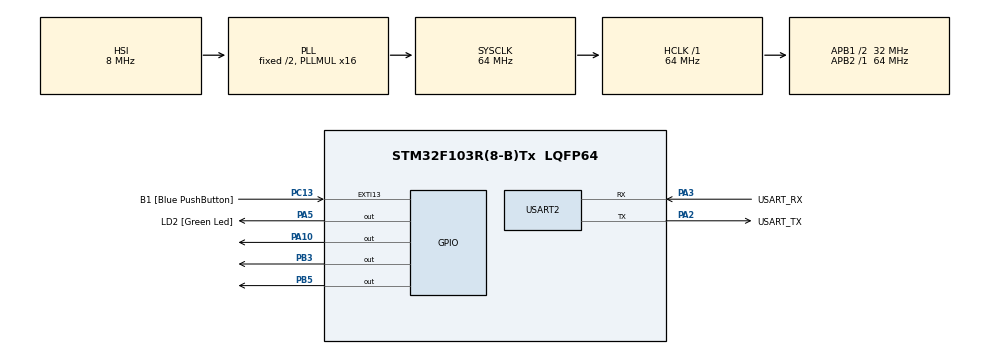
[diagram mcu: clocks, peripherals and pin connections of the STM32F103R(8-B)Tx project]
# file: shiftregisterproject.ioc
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Mcu.Family=STM32F1
Mcu.Name=STM32F103R(8-B)Tx
Mcu.Package=LQFP64
NVIC.EXTI15_10_IRQn=true\:0\:0\:false\:false\:true\:true\:true\:true
NVIC.PriorityGroup=NVIC_PRIORITYGROUP_4
PA10.Signal=GPIO_Output
PA13.GPIO_Label=TMS
PA13.Mode=Serial_Wire
PA13.Signal=SYS_JTMS-SWDIO
PA14.GPIO_Label=TCK
PA14.Mode=Serial_Wire
PA14.Signal=SYS_JTCK-SWCLK
PA2.GPIO_Label=USART_TX
PA2.GPIO_Mode=GPIO_MODE_AF_PP
PA2.GPIO_PuPd=GPIO_NOPULL
PA2.GPIO_Speed=GPIO_SPEED_FREQ_LOW
PA2.Mode=Asynchronous
PA2.Signal=USART2_TX
PA3.GPIO_Label=USART_RX
PA3.GPIO_Mode=GPIO_MODE_AF_PP
PA3.GPIO_PuPd=GPIO_NOPULL
PA3.GPIO_Speed=GPIO_SPEED_FREQ_LOW
PA3.Mode=Asynchronous
PA3.Signal=USART2_RX
PA5.GPIO_Label=LD2 [Green Led]
PA5.GPIO_ModeDefaultOutputPP=GPIO_MODE_OUTPUT_PP
PA5.GPIO_PuPd=GPIO_NOPULL
PA5.GPIO_Speed=GPIO_SPEED_FREQ_LOW
PA5.Signal=GPIO_Output
PB3.Signal=GPIO_Output
PB5.Signal=GPIO_Output
PC13-TAMPER-RTC.GPIO_Label=B1 [Blue PushButton]
PC13-TAMPER-RTC.GPIO_PuPd=GPIO_NOPULL
PC13-TAMPER-RTC.Signal=GPXTI13
PC14-OSC32_IN.Mode=LSE-External-Oscillator
PC14-OSC32_IN.Signal=RCC_OSC32_IN
PC15-OSC32_OUT.Mode=LSE-External-Oscillator
PC15-OSC32_OUT.Signal=RCC_OSC32_OUT
PD0-OSC_IN.Mode=HSE-External-Clock-Source
PD0-OSC_IN.Signal=RCC_OSC_IN
PD1-OSC_OUT.Mode=HSE-External-Clock-Source
PD1-OSC_OUT.Signal=RCC_OSC_OUT
ProjectManager.HeapSize=0x200
ProjectManager.StackSize=0x400
ProjectManager.TargetToolchain=STM32CubeIDE
RCC.AHBFreq_Value=64000000
RCC.APB1CLKDivider=RCC_HCLK_DIV2
RCC.APB1Freq_Value=32000000
RCC.APB1TimFreq_Value=64000000
RCC.APB2Freq_Value=64000000
RCC.APB2TimFreq_Value=64000000
RCC.HCLKFreq_Value=64000000
RCC.PLLMUL=RCC_PLL_MUL16
RCC.RTCClockSelection=RCC_RTCCLKSOURCE_LSE
RCC.SYSCLKFreq_VALUE=64000000
RCC.SYSCLKSource=RCC_SYSCLKSOURCE_PLLCLK
RCC.USBFreq_Value=64000000
USART2.VirtualMode=VM_ASYNC
board=NUCLEO-F103RB

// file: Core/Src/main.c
/* USER CODE BEGIN Header */
/**
  ******************************************************************************
  * @file           : main.c
  * @brief          : Main program body
  ******************************************************************************
  * @attention
  *
  * Copyright (c) 2025 STMicroelectronics.
  * All rights reserved.
  *
  * This software is licensed under terms that can be found in the LICENSE file
  * in the root directory of this software component.
  * If no LICENSE file comes with this software, it is provided AS-IS.
  *
  ******************************************************************************
  */
/* USER CODE END Header */
#include "main.h"

UART_HandleTypeDef huart2;
uint8_t rxData;

void SystemClock_Config(void);
static void MX_GPIO_Init(void);
static void MX_USART2_UART_Init(void);
static void sendString(char *str);
static char readChar(void);
static void shiftOut(uint8_t bitOrder, uint8_t val);
static void stingerea();
static void joc1();
static void joc2();
static void joc3();
static void joc4();
static void joc5();
static void joc6();

int main(void)
{

  /* MCU Configuration--------------------------------------------------------*/

  /* Reset of all peripherals, Initializes the Flash interface and the Systick. */
  HAL_Init();

  /* Configure the system clock */
  SystemClock_Config();

  /* Initialize all configured peripherals */
  MX_GPIO_Init();
  MX_USART2_UART_Init();
  /* USER CODE BEGIN 2 */
  char alege[1] = {'0'};
  stingerea();
  sendString("Joc de lumini!\n");
  sendString("Alegeti varianta de joc (1 - 6) \n");
  while (alege[0]!='1' && alege[0]!='2' && alege[0]!='3' && alege[0]!='4' && alege[0]!='5' && alege[0]!='6')
  	 { alege[0] = readChar();
  		 HAL_Delay(500);
  	 }
  	sendString("Ati ales jocul: ");
  	sendString(alege);
  	sendString("\nPentru reinitializare apasati butonul Reset al placii ");

  	switch (alege[0]) {
  		 case '1':  joc1();
  		 case '2':  joc2();
  		 case '3':  joc3();
  		 case '4':  joc4();
  		 case '5': 	joc5();
  		 case '6': 	joc6();
  	 }
  /* USER CODE END 2 */

  /* Infinite loop */
  while (1)
  {

  }
}

void SystemClock_Config(void)
{
  RCC_OscInitTypeDef RCC_OscInitStruct = {0};
  RCC_ClkInitTypeDef RCC_ClkInitStruct = {0};

  /** Initializes the RCC Oscillators according to the specified parameters
  * in the RCC_OscInitTypeDef structure.
  */
  RCC_OscInitStruct.OscillatorType = RCC_OSCILLATORTYPE_HSI;
  RCC_OscInitStruct.HSIState = RCC_HSI_ON;
  RCC_OscInitStruct.HSICalibrationValue = RCC_HSICALIBRATION_DEFAULT;
  RCC_OscInitStruct.PLL.PLLState = RCC_PLL_ON;
  RCC_OscInitStruct.PLL.PLLSource = RCC_PLLSOURCE_HSI_DIV2;
  RCC_OscInitStruct.PLL.PLLMUL = RCC_PLL_MUL16;
  if (HAL_RCC_OscConfig(&RCC_OscInitStruct) != HAL_OK)
  {
    Error_Handler();
  }

  /** Initializes the CPU, AHB and APB buses clocks
  */
  RCC_ClkInitStruct.ClockType = RCC_CLOCKTYPE_HCLK|RCC_CLOCKTYPE_SYSCLK
                              |RCC_CLOCKTYPE_PCLK1|RCC_CLOCKTYPE_PCLK2;
  RCC_ClkInitStruct.SYSCLKSource = RCC_SYSCLKSOURCE_PLLCLK;
  RCC_ClkInitStruct.AHBCLKDivider = RCC_SYSCLK_DIV1;
  RCC_ClkInitStruct.APB1CLKDivider = RCC_HCLK_DIV2;
  RCC_ClkInitStruct.APB2CLKDivider = RCC_HCLK_DIV1;

  if (HAL_RCC_ClockConfig(&RCC_ClkInitStruct, FLASH_LATENCY_2) != HAL_OK)
  {
    Error_Handler();
  }
}

static void MX_USART2_UART_Init(void)
{

  huart2.Instance = USART2;
  huart2.Init.BaudRate = 115200;
  huart2.Init.WordLength = UART_WORDLENGTH_8B;
  huart2.Init.StopBits = UART_STOPBITS_1;
  huart2.Init.Parity = UART_PARITY_NONE;
  huart2.Init.Mode = UART_MODE_TX_RX;
  huart2.Init.HwFlowCtl = UART_HWCONTROL_NONE;
  huart2.Init.OverSampling = UART_OVERSAMPLING_16;
  if (HAL_UART_Init(&huart2) != HAL_OK)
  {
    Error_Handler();
  }

}

static void MX_GPIO_Init(void)
{
  GPIO_InitTypeDef GPIO_InitStruct = {0};

  /* GPIO Ports Clock Enable */
  __HAL_RCC_GPIOC_CLK_ENABLE();
  __HAL_RCC_GPIOD_CLK_ENABLE();
  __HAL_RCC_GPIOA_CLK_ENABLE();
  __HAL_RCC_GPIOB_CLK_ENABLE();

  /*Configure GPIO pin Output Level */
  HAL_GPIO_WritePin(GPIOA, LD2_Pin|GPIO_PIN_10, GPIO_PIN_RESET);

  /*Configure GPIO pin Output Level */
  HAL_GPIO_WritePin(GPIOB, GPIO_PIN_3|GPIO_PIN_5, GPIO_PIN_RESET);

  /*Configure GPIO pin : B1_Pin */
  GPIO_InitStruct.Pin = B1_Pin;
  GPIO_InitStruct.Mode = GPIO_MODE_IT_RISING;
  GPIO_InitStruct.Pull = GPIO_NOPULL;
  HAL_GPIO_Init(B1_GPIO_Port, &GPIO_InitStruct);

  /*Configure GPIO pins : LD2_Pin PA10 */
  GPIO_InitStruct.Pin = LD2_Pin|GPIO_PIN_10;
  GPIO_InitStruct.Mode = GPIO_MODE_OUTPUT_PP;
  GPIO_InitStruct.Pull = GPIO_NOPULL;
  GPIO_InitStruct.Speed = GPIO_SPEED_FREQ_LOW;
  HAL_GPIO_Init(GPIOA, &GPIO_InitStruct);

  /*Configure GPIO pins : PB3 PB5 */
  GPIO_InitStruct.Pin = GPIO_PIN_3|GPIO_PIN_5;
  GPIO_InitStruct.Mode = GPIO_MODE_OUTPUT_PP;
  GPIO_InitStruct.Pull = GPIO_NOPULL;
  GPIO_InitStruct.Speed = GPIO_SPEED_FREQ_LOW;
  HAL_GPIO_Init(GPIOB, &GPIO_InitStruct);

  /* EXTI interrupt init*/
  HAL_NVIC_SetPriority(EXTI15_10_IRQn, 0, 0);
  HAL_NVIC_EnableIRQ(EXTI15_10_IRQn);

}

/* USER CODE BEGIN 4 */
static char readChar()
{
    char chr;

    if (HAL_UART_Receive(&huart2, (uint8_t*)&chr, 1, 10) == HAL_OK)  // Timeout 10ms
    {
        return chr;
    }

    return '\0';
}

static void sendString(char *str)
{
	HAL_UART_Transmit(&huart2, (uint8_t*)str, strlen(str), HAL_MAX_DELAY);
}

static void shiftOut(uint8_t bitOrder, uint8_t val)
{
    uint8_t i;

    for (i = 0; i < 8; i++) {
        if (bitOrder == LSB) {
            if (!!(val & (1 << i)))
                HAL_GPIO_WritePin(GPIOA, GPIO_PIN_10, GPIO_PIN_SET);
            else
                HAL_GPIO_WritePin(GPIOA, GPIO_PIN_10, GPIO_PIN_RESET);
        } else {
            if (!!(val & (1 << (7 - i))))
                HAL_GPIO_WritePin(GPIOA, GPIO_PIN_10, GPIO_PIN_SET);
            else
                HAL_GPIO_WritePin(GPIOA, GPIO_PIN_10, GPIO_PIN_RESET);
        }

        // Clock signal
        HAL_GPIO_WritePin(GPIOB, GPIO_PIN_5, GPIO_PIN_SET);  // Set clock
        HAL_GPIO_WritePin(GPIOB, GPIO_PIN_5, GPIO_PIN_RESET); // Reset clock
    }
}

//! jocuri
void joc1() {
    while(1) {
        HAL_GPIO_WritePin(GPIOB, GPIO_PIN_3, GPIO_PIN_RESET); // Latch pin low
        shiftOut(MSB, 85); // Trimite valoarea 01010101 (pe 8 LED-uri)
        HAL_GPIO_WritePin(GPIOB, GPIO_PIN_3, GPIO_PIN_SET); // Latch pin high
        HAL_Delay(1000);

        HAL_GPIO_WritePin(GPIOB, GPIO_PIN_3, GPIO_PIN_RESET); // Latch pin low
        shiftOut(MSB, 170); // Trimite valoarea 10101010 (pe 8 LED-uri)
        HAL_GPIO_WritePin(GPIOB, GPIO_PIN_3, GPIO_PIN_SET); // Latch pin high
        HAL_Delay(1000);
    }
}

void joc2() {
    int i;
    int afisare = 0;
    while(1) {
        for (i = 1; i < 9; i++) {
            afisare = afisare + (1 << i);
            HAL_GPIO_WritePin(GPIOB, GPIO_PIN_3, GPIO_PIN_RESET); // Latch pin low
            shiftOut(MSB, afisare); // Trimite valoare pentru LED-uri
            HAL_GPIO_WritePin(GPIOB, GPIO_PIN_3, GPIO_PIN_SET); // Latch pin high
            HAL_Delay(500);
        }

        for (i = 8; i >= 0; i--) {
            afisare = afisare - (1 << i);
            HAL_GPIO_WritePin(GPIOB, GPIO_PIN_3, GPIO_PIN_RESET); // Latch pin low
            shiftOut(MSB, afisare); // Trimite valoare pentru LED-uri
            HAL_GPIO_WritePin(GPIOB, GPIO_PIN_3, GPIO_PIN_SET); // Latch pin high
            HAL_Delay(500);
        }
    }
}

void joc3() {
    int i;
    int afisare = 1;
    while(1) {
        for (i = 0; i < 8; i++) {
            HAL_GPIO_WritePin(GPIOB, GPIO_PIN_3, GPIO_PIN_RESET); // Latch pin low
            shiftOut(MSB, afisare << i); // Shift pentru a aprinde un LED
            HAL_GPIO_WritePin(GPIOB, GPIO_PIN_3, GPIO_PIN_SET); // Latch pin high
            HAL_Delay(500);
        }
    }
}

void joc4() {
    int configuratie;
    while(1) {
        configuratie = rand() % 256; // Aleatorie între 0 și 255 (8 biți)
        HAL_GPIO_WritePin(GPIOB, GPIO_PIN_3, GPIO_PIN_RESET); // Latch pin low
        shiftOut(MSB, configuratie); // Trimite valoare aleatorie pe 8 LED-uri
        HAL_GPIO_WritePin(GPIOB, GPIO_PIN_3, GPIO_PIN_SET); // Latch pin high
        HAL_Delay(100);
    }
}

void stingerea() {
    HAL_GPIO_WritePin(GPIOB, GPIO_PIN_3, GPIO_PIN_RESET); // Latch pin low
    shiftOut(MSB, 0b00000000); // Trimite valoarea 00000000 pentru a stinge toate LED-urile
    HAL_GPIO_WritePin(GPIOB, GPIO_PIN_3, GPIO_PIN_SET); // Latch pin high
}

void joc5() {
    for (int i = 0; i < 256; i++) { // 2^8 = 256
        HAL_GPIO_WritePin(GPIOB, GPIO_PIN_3, GPIO_PIN_RESET); // Latch pin low
        shiftOut(MSB, i); // Trimite valoare binară pe 8 LED-uri
        HAL_GPIO_WritePin(GPIOB, GPIO_PIN_3, GPIO_PIN_SET); // Latch pin high
        HAL_Delay(250);
    }
}

void joc6() {
    while(1) {
        HAL_GPIO_WritePin(GPIOB, GPIO_PIN_3, GPIO_PIN_RESET); // Latch pin low
        shiftOut(MSB, 0b10000001); // LED-uri simetrice pe margini
        HAL_GPIO_WritePin(GPIOB, GPIO_PIN_3, GPIO_PIN_SET); // Latch pin high
        HAL_Delay(250);

        HAL_GPIO_WritePin(GPIOB, GPIO_PIN_3, GPIO_PIN_RESET); // Latch pin low
        shiftOut(MSB, 0b01000010); // LED-uri simetrice pe margini
        HAL_GPIO_WritePin(GPIOB, GPIO_PIN_3, GPIO_PIN_SET); // Latch pin high
        HAL_Delay(250);

        HAL_GPIO_WritePin(GPIOB, GPIO_PIN_3, GPIO_PIN_RESET); // Latch pin low
        shiftOut(MSB, 0b00100100); // LED-uri simetrice
        HAL_GPIO_WritePin(GPIOB, GPIO_PIN_3, GPIO_PIN_SET); // Latch pin high
        HAL_Delay(250);

        HAL_GPIO_WritePin(GPIOB, GPIO_PIN_3, GPIO_PIN_RESET); // Latch pin low
        shiftOut(MSB, 0b00011000); // LED-uri simetrice
        HAL_GPIO_WritePin(GPIOB, GPIO_PIN_3, GPIO_PIN_SET); // Latch pin high
        HAL_Delay(250);
    }
}

/* USER CODE END 4 */

void Error_Handler(void)
{
  __disable_irq();
  while (1)
  {
  }
}
